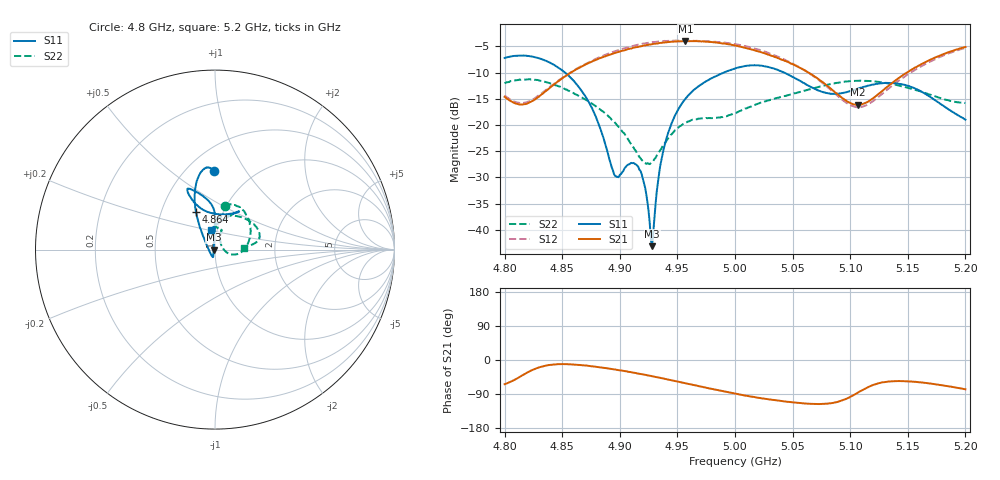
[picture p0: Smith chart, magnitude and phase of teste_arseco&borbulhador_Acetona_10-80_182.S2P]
! Network Analyzer HP8722D
! Hewlett-Packard
! Data name: Linha & Wilkinson
! Saver's name: Rodrigo Anjos
! Comments: Teste da utilização de aquisição
! continua pelo VNA HP8722D
! Time and date: 25/4/2025 16:47
!  Frequency  S11  S21  S12  S22
# HZ  S  MA R 50
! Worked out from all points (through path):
!   401 points, 4.8 GHz to 5.2 GHz, reference 50 ohm
!   highest |S21| = -3.99 dB at 4.957 GHz (marker M1); lowest = -16.1 dB at 5.107 GHz (marker M2)
!   lowest |S11| = -43.1 dB at 4.928 GHz (marker M3), VSWR 1.01, Z = 49.3 + j0.0371 ohm
!   |S11| at or under -10 dB: 4.852 GHz to 4.99 GHz (137.9 MHz wide, 2.8 % of centre); 5.043 GHz to end of sweep
!   |S22| runs from -27.5 to -11.2 dB; largest |S21 - S12| = 1.2
!   S11 on the Smith chart (normalised r, x): 4.8 GHz: 0.67, +0.72; 4.864 GHz: 0.75, +0.33; 5.2 GHz: 0.94, +0.21
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4.8e9  0.4358 90.9  0.1858 -63.8  0.1912 69.6  0.2497 77.0
4.82e9  0.455 97.2  0.1609 -32.5  0.1666 98.2  0.2729 62.2
4.844e9  0.3678 107.1  0.2487 -11.6  0.2518 119.2  0.2395 36.1
4.864e9  0.2341 116.9  0.3474 -12.8  0.3511 121.2  0.1904 12.2
4.867e9  0.2108 118.6  0.362 -13.6  0.3662 120.7  0.1834 9.1
4.88e9  0.1139 128.6  0.4215 -18.1  0.4315 118.3  0.1485 -4.8
4.896e9  0.03275 -168.5  0.4864 -25.0  0.5056 113.4  0.1049 -15.6
4.91e9  0.04359 -107.5  0.5358 -32.3  0.563 107.4  0.06519 -13.3
4.917e9  0.03752 -104.3  0.5601 -36.1  0.5872 103.7  0.04959 -0.9
4.922e9  0.02525 -108.9  0.5739 -38.9  0.601 100.9  0.04328 16.4
4.926e9  0.01154 -134.0  0.5855 -41.6  0.6107 98.6  0.04239 32.5
4.928e9  0.007003 176.9  0.5894 -42.8  0.616 97.3  0.04463 40.5
4.934e9  0.03369 100.4  0.6042 -46.6  0.6282 93.4  0.05522 57.7
4.943e9  0.09069 91.1  0.6191 -52.2  0.6349 87.7  0.07684 68.1
4.957e9  0.1783 89.7  0.632 -61.2  0.6392 78.8  0.1048 70.8
5e9  0.3467 109.3  0.5732 -88.7  0.5914 51.0  0.1305 88.4
5.029e9  0.3575 115.3  0.469 -103.7  0.4871 34.4  0.172 85.9
5.067e9  0.2277 105.7  0.3013 -115.9  0.2984 23.5  0.2221 57.2
5.107e9  0.2232 64.5  0.1559 -85.4  0.1478 57.6  0.2641 24.4
5.134e9  0.2516 57.8  0.2399 -56.7  0.2255 88.7  0.2486 12.4
5.168e9  0.1898 69.8  0.412 -61.6  0.3954 85.4  0.1966 7.0
5.2e9  0.1126 100.7  0.5543 -77.2  0.543 70.4  0.1622 3.8
